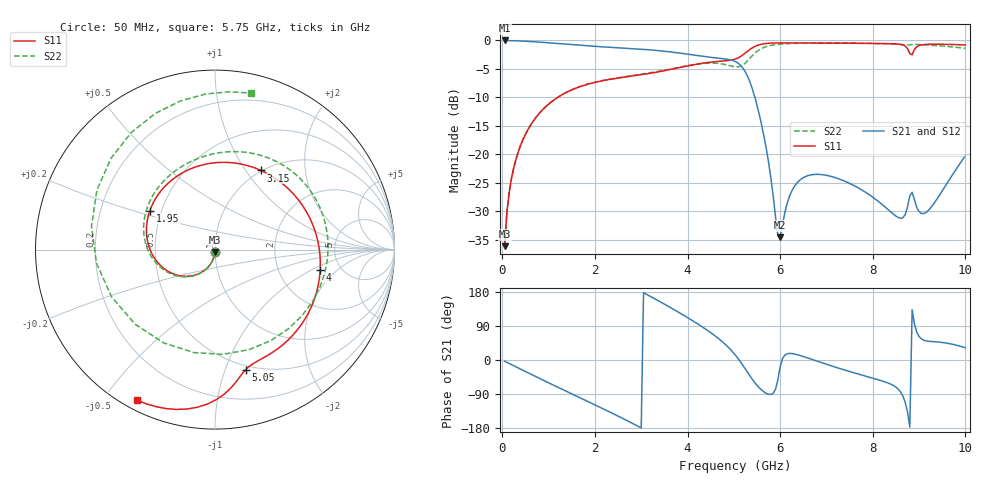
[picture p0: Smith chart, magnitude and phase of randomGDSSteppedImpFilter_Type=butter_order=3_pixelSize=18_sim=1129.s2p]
! freq	dB(S11)	phase(S11)	dB(S12)	phase(S12)
!  dB(S21)	phase(S21)	dB(S22)	phase(S22)
!S-par simulation data
#  GHz  S  DB  R 50
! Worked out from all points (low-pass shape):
!   200 points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, 50 MHz to 10 GHz, reference 50 ohm
!   highest |S21| = -0.01 dB at 50 MHz (marker M1); lowest = -34.6 dB at 6 GHz (marker M2)
!   |S21| within 3 dB of the highest: start of sweep to 4.54 GHz
!   lowest |S11| = -36.2 dB at 50 MHz (marker M3), VSWR 1.03, Z = 49.9 - j1.55 ohm
!   |S11| at or under -10 dB: start of sweep to 1.199 GHz
!   |S22| runs from -36.2 to -0.5 dB; largest |S21 - S12| = 0
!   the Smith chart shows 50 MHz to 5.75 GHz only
!   S11 on the Smith chart (normalised r, x): 50 MHz: 1.00, -0.03; 1.95 GHz: 0.43, +0.23; 3.15 GHz: 0.99, +1.18; 4 GHz: 3.49, -1.24; 5.05 GHz: 0.46, -1.18; 5.75 GHz: 0.04, -0.61
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0.05  -36.16 -92.9  -0.01 -3.1  -0.01 -3.1  -36.16 -92.9
0.2  -24.19 -102.5  -0.04 -12.3  -0.04 -12.3  -24.18 -102.3
0.5  -16.51 -121.1  -0.14 -30.4  -0.14 -30.4  -16.50 -120.7
1.15  -10.27 -160.8  -0.52 -69.0  -0.52 -69.0  -10.25 -158.5
1.75  -7.93 162.0  -0.90 -103.8  -0.90 -103.8  -7.90 169.1
1.95  -7.47 149.0  -1.02 -115.4  -1.02 -115.4  -7.44 158.8
3.15  -5.84 59.7  -1.63 171.0  -1.63 171.0  -5.75 101.1
3.4  -5.48 38.7  -1.82 154.3  -1.82 154.3  -5.39 88.8
4  -4.48 -11.0  -2.42 111.8  -2.42 111.8  -4.44 54.1
4.7  -3.67 -60.2  -3.14 53.6  -3.14 53.6  -4.08 -11.9
5.05  -3.22 -75.7  -3.79 10.3  -3.79 10.3  -4.66 -85.7
5.2  -2.51 -81.2  -4.91 -15.0  -4.91 -15.0  -4.31 -137.0
5.35  -1.57 -89.3  -7.36 -42.4  -7.36 -42.4  -3.09 169.3
5.55  -0.76 -103.7  -13.04 -73.4  -13.04 -73.4  -1.63 113.6
5.75  -0.50 -117.2  -21.42 -90.5  -21.42 -90.5  -0.97 77.2
6  -0.43 -131.8  -34.63 -17.9  -34.63 -17.9  -0.66 47.0
6.25  -0.43 -144.5  -26.48 17.1  -26.48 17.1  -0.54 25.6
6.7  -0.45 -164.8  -23.59 0.9  -23.59 0.9  -0.46 -3.0
8.35  -0.57 129.3  -29.87 -61.7  -29.87 -61.7  -0.61 -72.1
8.85  -2.51 115.8  -26.70 132.7  -26.70 132.7  -0.71 -88.4
9.15  -0.70 103.2  -30.22 50.5  -30.22 50.5  -0.79 -99.7
10  -0.80 66.5  -20.24 32.4  -20.24 32.4  -1.40 -132.2
